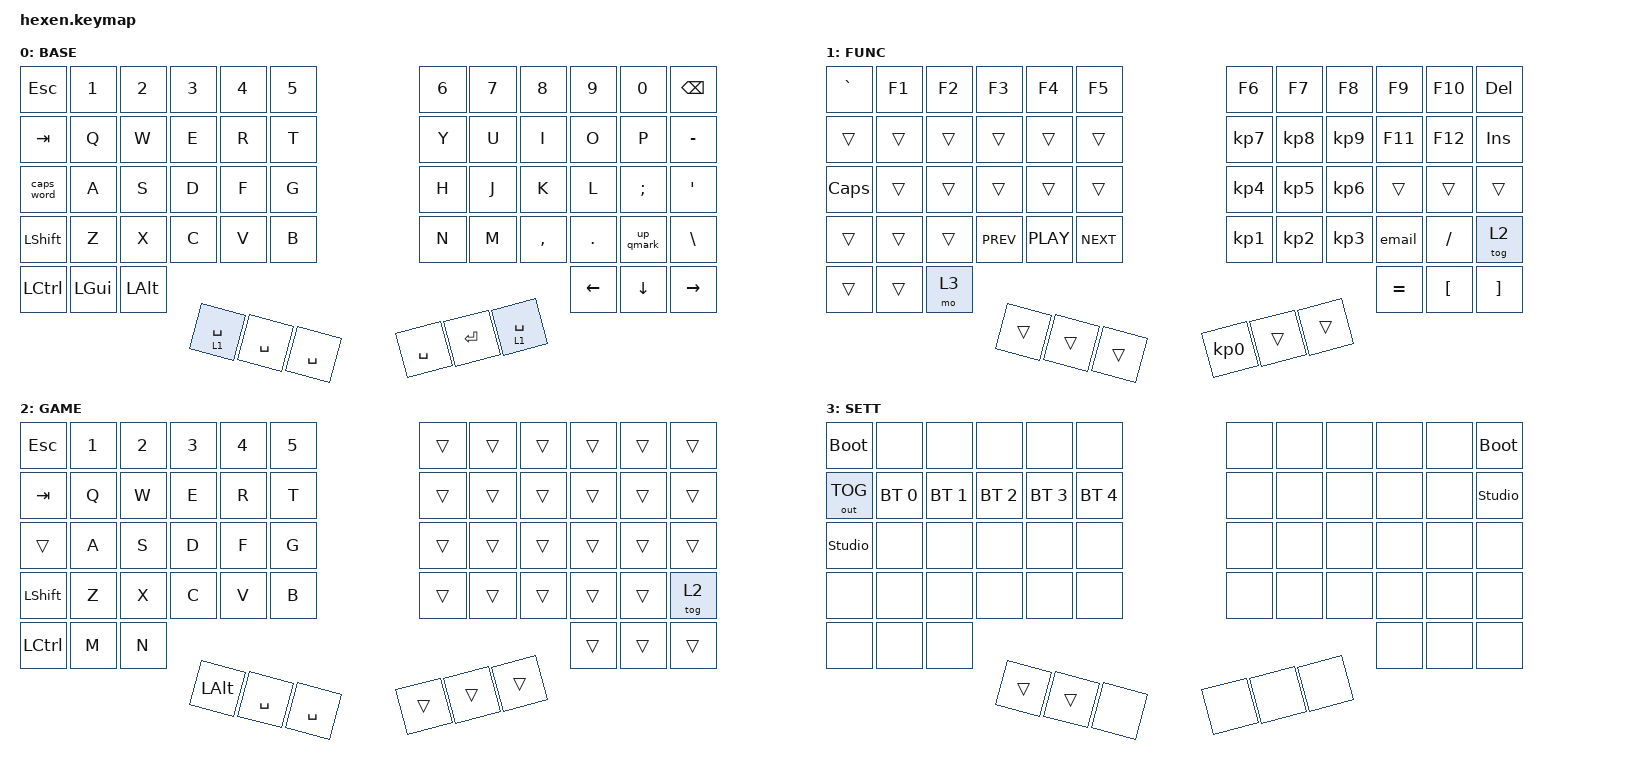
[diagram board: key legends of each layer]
#include <behaviors.dtsi>
#include <dt-bindings/zmk/bt.h>
#include <dt-bindings/zmk/keys.h>
#include <dt-bindings/zmk/outputs.h>

&lt { quick_tap_ms = <220>; };
&mt { quick_tap_ms = <220>; };

/ {
    macros {
        email: email {
            compatible = "zmk,behavior-macro";
            #binding-cells = <0>;
            bindings = <&kp Z &kp A &kp C &kp DOT &kp V &kp L &kp I &kp E &kp T &kp S &kp T &kp R &kp A &kp AT &kp G &kp M &kp A &kp I &kp L &kp DOT &kp C &kp O &kp M>;
        };
    };

    behaviors {
        lts: layer_tap_space {
            compatible = "zmk,behavior-hold-tap";
            #binding-cells = <2>;
            tapping-term-ms = <150>;
            quick-tap-ms = <150>;
            flavor = "balanced";
            bindings = <&mo>, <&kp>;
        };

        up_qmark: up_qmark {
            compatible = "zmk,behavior-mod-morph";
            #binding-cells = <0>;
            bindings = <&kp UP>, <&kp QUESTION>;
            mods = <(MOD_LSFT|MOD_RSFT)>;
        };
    };

    keymap {
        compatible = "zmk,keymap";

        base {
            display-name = "BASE";
            bindings = <
                &kp ESC     &kp N1    &kp N2    &kp N3  &kp N4          &kp N5       &kp N6     &kp N7     &kp N8        &kp N9     &kp N0    &kp BSPC
                &kp TAB     &kp Q     &kp W     &kp E   &kp R           &kp T        &kp Y      &kp U      &kp I         &kp O      &kp P     &kp MINUS
                &caps_word  &kp A     &kp S     &kp D   &kp F           &kp G        &kp H      &kp J      &kp K         &kp L      &kp SEMI  &kp APOS
                &kp LSHFT   &kp Z     &kp X     &kp C   &kp V           &kp B        &kp N      &kp M      &kp COMMA     &kp DOT    &up_qmark &kp BSLH
                &kp LCTRL   &kp LGUI  &kp LALT  &lts 1 SPACE &kp SPACE  &kp SPACE    &kp SPACE  &kp ENTER  &lts 1 SPACE  &kp LEFT   &kp DOWN  &kp RIGHT
            >;
        };

        function {
            display-name = "FUNC";
            bindings = <
                &kp GRAVE  &kp F1  &kp F2  &kp F3      &kp F4      &kp F5      &kp F6     &kp F7     &kp F8     &kp F9     &kp F10    &kp DEL
                &trans     &trans  &trans  &trans      &trans      &trans      &kp KP_N7  &kp KP_N8  &kp KP_N9  &kp F11    &kp F12    &kp INS
                &kp CAPS   &trans  &trans  &trans      &trans      &trans      &kp KP_N4  &kp KP_N5  &kp KP_N6  &trans     &trans     &trans
                &trans     &trans  &trans  &kp C_PREV  &kp C_PLAY  &kp C_NEXT  &kp KP_N1  &kp KP_N2  &kp KP_N3  &email     &kp FSLH   &tog 2
                &trans     &trans  &mo 3   &trans      &trans      &trans      &kp KP_N0  &trans     &trans     &kp EQUAL  &kp LBKT   &kp RBKT
            >;
        };

        game{
            display-name = "GAME";
            bindings = <
                &kp ESC    &kp N1  &kp N2  &kp N3    &kp N4     &kp N5     &trans  &trans  &trans  &trans  &trans  &trans
                &kp TAB    &kp Q   &kp W   &kp E     &kp R      &kp T      &trans  &trans  &trans  &trans  &trans  &trans
                &trans     &kp A   &kp S   &kp D     &kp F      &kp G      &trans  &trans  &trans  &trans  &trans  &trans
                &kp LSHFT  &kp Z   &kp X   &kp C     &kp V      &kp B      &trans  &trans  &trans  &trans  &trans  &tog 2
                &kp LCTRL  &kp M   &kp N   &kp LALT  &kp SPACE  &kp SPACE  &trans  &trans  &trans  &trans  &trans  &trans
            >;
        };

        settings {
            display-name = "SETT";
            bindings = <
                &bootloader    &none         &none         &none         &none         &none         &none  &none  &none  &none  &none  &bootloader
                &out OUT_TOG   &bt BT_SEL 0  &bt BT_SEL 1  &bt BT_SEL 2  &bt BT_SEL 3  &bt BT_SEL 4  &none  &none  &none  &none  &none  &studio_unlock
                &studio_unlock &none         &none         &none         &none         &none         &none  &none  &none  &none  &none  &none
                &none          &none         &none         &none         &none         &none         &none  &none  &none  &none  &none  &none
                &none          &none         &none         &trans        &trans        &none         &none  &none  &none  &none  &none  &none
            >;
        };

        spare_0 {
            status = "reserved";
        };

        spare_1 {
            status = "reserved";
        };
    };
};
